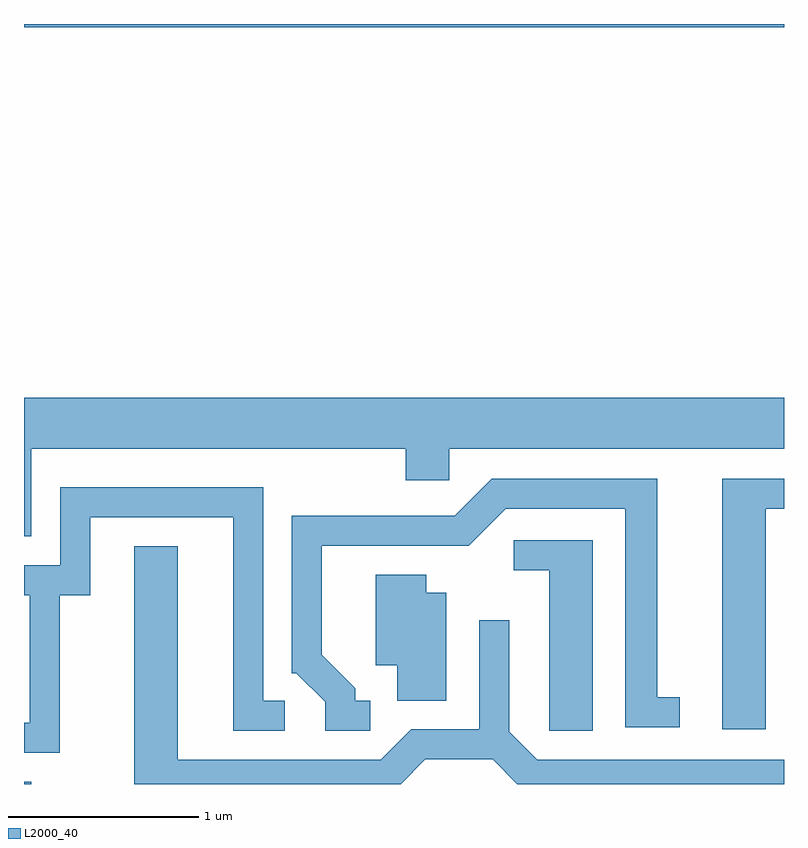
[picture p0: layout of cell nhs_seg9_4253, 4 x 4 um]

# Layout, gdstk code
import gdstk
lib = gdstk.Library(unit=1e-6, precision=1e-09)
def R(c, l, rs):  # rectangles x0, y0, x1, y1
    for r in rs: c.add(gdstk.rectangle(r[:2], r[2:], *l))
def P(c, l, *ps):  # polygons
    for p in ps: c.add(gdstk.Polygon(p, *l))
L2000_40 = (2000, 40)

nhs_seg9_4253 = lib.new_cell('nhs_seg9_4253')
R(nhs_seg9_4253, L2000_40, [(309.611,2054.432,309.649,2054.444), (309.611,2058.416,313.611,2058.432)])
P(nhs_seg9_4253, L2000_40, [(309.649,2056.196),(311.621,2056.196),(311.621,2056.031),(311.849,2056.031),(311.849,2056.196),(313.611,2056.196),(313.611,2056.464),(309.611,2056.464),(309.611,2055.736),(309.649,2055.736)],
  [(311.433,2054.869),(311.354,2054.869),(311.354,2054.937),(311.179,2055.112),(311.179,2055.686),(311.952,2055.686),(312.147,2055.881),(312.776,2055.881),(312.776,2054.731),(313.063,2054.731),(313.063,2054.889),(312.944,2054.889),(312.944,2056.039),(312.074,2056.039),(311.879,2055.844),(311.021,2055.844),(311.021,2055.016),(311.044,2055.016),(311.196,2054.864),(311.196,2054.711),(311.433,2054.711)],
  [(313.514,2055.881),(313.611,2055.881),(313.611,2056.039),(313.286,2056.039),(313.286,2054.721),(313.514,2054.721)],
  [(309.799,2055.426),(309.959,2055.426),(309.959,2055.836),(310.711,2055.836),(310.711,2054.711),(310.983,2054.711),(310.983,2054.869),(310.869,2054.869),(310.869,2055.994),(309.801,2055.994),(309.801,2055.584),(309.611,2055.584),(309.611,2055.426),(309.641,2055.426),(309.641,2054.754),(309.611,2054.754),(309.611,2054.596),(309.799,2054.596)],
  [(312.604,2055.714),(312.188,2055.714),(312.188,2055.556),(312.376,2055.556),(312.376,2054.711),(312.604,2054.711)],
  [(311.722,2054.561),(312.079,2054.561),(312.208,2054.432),(313.611,2054.432),(313.611,2054.559),(312.312,2054.559),(312.164,2054.707),(312.164,2055.293),(312.006,2055.293),(312.006,2054.719),(311.649,2054.719),(311.489,2054.559),(310.419,2054.559),(310.419,2055.684),(310.191,2055.684),(310.191,2054.432),(311.593,2054.432)],
  [(311.834,2055.439),(311.729,2055.439),(311.729,2055.534),(311.461,2055.534),(311.461,2055.056),(311.576,2055.056),(311.576,2054.871),(311.834,2054.871)])

lib.write_gds('nhs_seg9_4253.gds')
